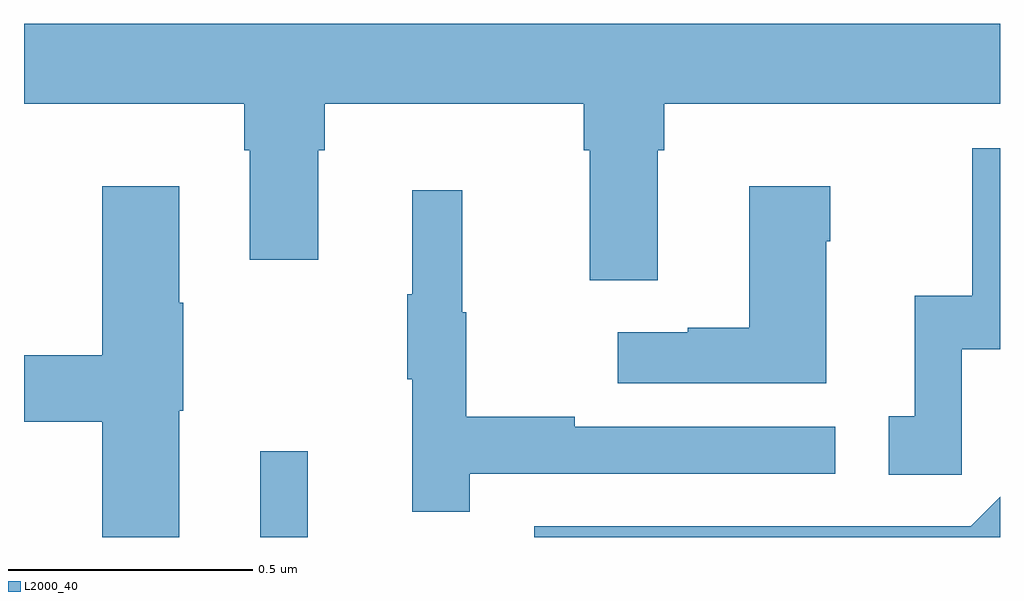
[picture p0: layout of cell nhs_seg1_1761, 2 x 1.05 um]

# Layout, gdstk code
import gdstk
lib = gdstk.Library(unit=1e-6, precision=1e-09)
def R(c, l, rs):  # rectangles x0, y0, x1, y1
    for r in rs: c.add(gdstk.rectangle(r[:2], r[2:], *l))
def P(c, l, *ps):  # polygons
    for p in ps: c.add(gdstk.Polygon(p, *l))
L2000_40 = (2000, 40)

nhs_seg1_1761 = lib.new_cell('nhs_seg1_1761')
R(nhs_seg1_1761, L2000_40, [(133.484,528.199,133.581,528.376)])
P(nhs_seg1_1761, L2000_40, [(134.299,528.992),(134.312,528.992),(134.312,529.088),(135,529.088),(135,529.252),(133,529.252),(133,529.088),(133.451,529.088),(133.451,528.992),(133.463,528.992),(133.463,528.768),(133.603,528.768),(133.603,528.992),(133.616,528.992),(133.616,529.088),(134.147,529.088),(134.147,528.992),(134.159,528.992),(134.159,528.726),(134.299,528.726)],
  [(134.922,528.585),(135,528.585),(135,528.996),(134.943,528.996),(134.943,528.694),(134.825,528.694),(134.825,528.447),(134.772,528.447),(134.772,528.327),(134.922,528.327)],
  [(133.318,528.459),(133.326,528.459),(133.326,528.68),(133.318,528.68),(133.318,528.919),(133.16,528.919),(133.16,528.572),(133,528.572),(133,528.436),(133.16,528.436),(133.16,528.199),(133.318,528.199)],
  [(134.644,528.806),(134.652,528.806),(134.652,528.919),(134.486,528.919),(134.486,528.629),(134.36,528.629),(134.36,528.619),(134.217,528.619),(134.217,528.515),(134.644,528.515)],
  [(133.913,528.33),(134.662,528.33),(134.662,528.426),(134.129,528.426),(134.129,528.446),(133.906,528.446),(133.906,528.66),(133.898,528.66),(133.898,528.91),(133.796,528.91),(133.796,528.697),(133.785,528.697),(133.785,528.523),(133.796,528.523),(133.796,528.252),(133.913,528.252)],
  [(135,528.282),(134.94,528.222),(134.046,528.222),(134.046,528.199),(135,528.199)])

lib.write_gds('nhs_seg1_1761.gds')
